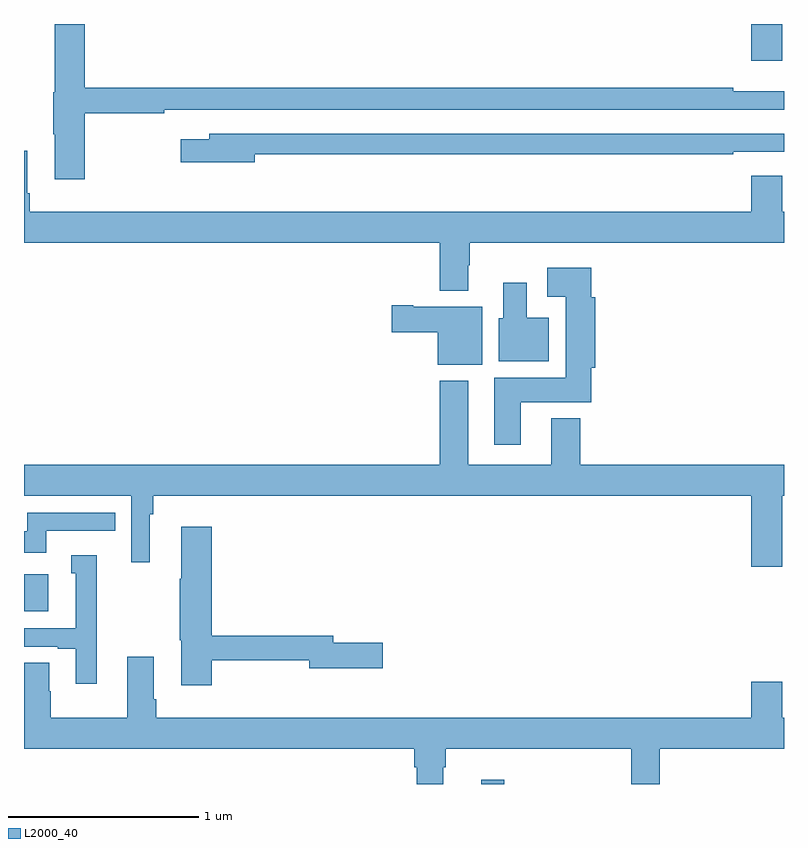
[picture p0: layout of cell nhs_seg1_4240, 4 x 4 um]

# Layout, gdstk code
import gdstk
lib = gdstk.Library(unit=1e-6, precision=1e-09)
def R(c, l, rs):  # rectangles x0, y0, x1, y1
    for r in rs: c.add(gdstk.rectangle(r[:2], r[2:], *l))
def P(c, l, *ps):  # polygons
    for p in ps: c.add(gdstk.Polygon(p, *l))
L2000_40 = (2000, 40)

nhs_seg1_4240 = lib.new_cell('nhs_seg1_4240')
R(nhs_seg1_4240, L2000_40, [(343.406,566.199,343.528,566.221), (341,567.107,341.128,567.304), (344.828,570.006,344.992,570.199)])
P(nhs_seg1_4240, L2000_40, [(341.321,569.728),(341.738,569.728),(341.738,569.748),(345,569.748),(345,569.845),(344.732,569.845),(344.732,569.864),(341.321,569.864),(341.321,570.199),(341.162,570.199),(341.162,569.841),(341.155,569.841),(341.155,569.62),(341.162,569.62),(341.162,569.382),(341.321,569.382)],
  [(342.214,569.514),(344.732,569.514),(344.732,569.526),(345,569.526),(345,569.622),(341.975,569.622),(341.975,569.593),(341.826,569.593),(341.826,569.471),(342.214,569.471)],
  [(343.339,568.928),(343.347,568.928),(343.347,569.048),(345,569.048),(345,569.212),(344.992,569.212),(344.992,569.401),(344.828,569.401),(344.828,569.212),(341.03,569.212),(341.03,569.308),(341.017,569.308),(341.017,569.533),(341,569.533),(341,569.048),(343.187,569.048),(343.187,568.796),(343.339,568.796)],
  [(343.615,568.208),(343.985,568.208),(343.985,568.389),(344.006,568.389),(344.006,568.761),(343.985,568.761),(343.985,568.915),(343.755,568.915),(343.755,568.763),(343.85,568.763),(343.85,568.336),(343.475,568.336),(343.475,567.984),(343.615,567.984)],
  [(343.762,568.654),(343.645,568.654),(343.645,568.837),(343.523,568.837),(343.523,568.65),(343.499,568.65),(343.499,568.424),(343.762,568.424)],
  [(343.411,568.711),(343.048,568.711),(343.048,568.719),(342.936,568.719),(342.936,568.577),(343.178,568.577),(343.178,568.406),(343.411,568.406)],
  [(344.992,567.716),(345,567.716),(345,567.88),(343.928,567.88),(343.928,568.123),(343.775,568.123),(343.775,567.88),(343.339,567.88),(343.339,568.321),(343.187,568.321),(343.187,567.88),(341,567.88),(341,567.716),(341.565,567.716),(341.565,567.366),(341.662,567.366),(341.662,567.62),(341.681,567.62),(341.681,567.716),(344.828,567.716),(344.828,567.342),(344.992,567.342)],
  [(341.116,567.531),(341.48,567.531),(341.48,567.627),(341.017,567.627),(341.017,567.528),(341,567.528),(341,567.416),(341.116,567.416)],
  [(341.987,566.85),(342.5,566.85),(342.5,566.807),(342.889,566.807),(342.889,566.942),(342.628,566.942),(342.628,566.978),(341.987,566.978),(341.987,567.553),(341.828,567.553),(341.828,567.278),(341.821,567.278),(341.821,566.955),(341.828,566.955),(341.828,566.718),(341.987,566.718)],
  [(341.383,567.403),(341.249,567.403),(341.249,567.309),(341.273,567.309),(341.273,567.018),(341,567.018),(341,566.922),(341.177,566.922),(341.177,566.91),(341.273,566.91),(341.273,566.727),(341.383,566.727)],
  [(343.207,566.286),(343.22,566.286),(343.22,566.384),(344.195,566.384),(344.195,566.199),(344.347,566.199),(344.347,566.384),(345,566.384),(345,566.548),(344.992,566.548),(344.992,566.737),(344.828,566.737),(344.828,566.548),(341.696,566.548),(341.696,566.644),(341.683,566.644),(341.683,566.869),(341.543,566.869),(341.543,566.548),(341.142,566.548),(341.142,566.687),(341.134,566.687),(341.134,566.837),(341,566.837),(341,566.384),(343.055,566.384),(343.055,566.286),(343.067,566.286),(343.067,566.199),(343.207,566.199)])

lib.write_gds('nhs_seg1_4240.gds')
